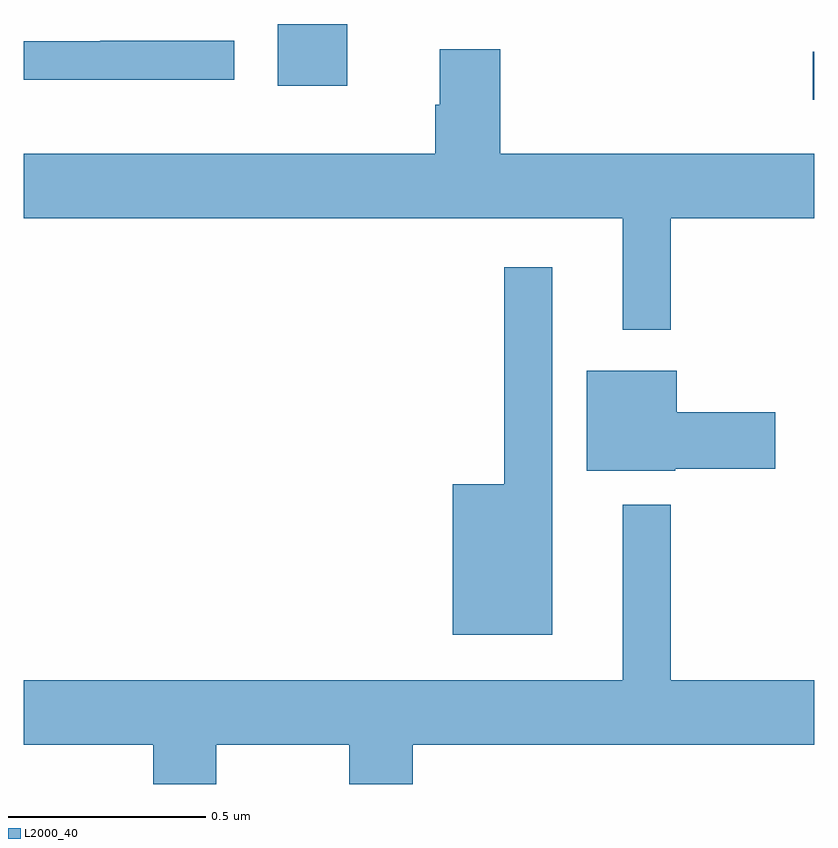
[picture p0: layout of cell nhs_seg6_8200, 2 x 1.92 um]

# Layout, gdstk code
import gdstk
lib = gdstk.Library(unit=1e-6, precision=1e-09)
def R(c, l, rs):  # rectangles x0, y0, x1, y1
    for r in rs: c.add(gdstk.rectangle(r[:2], r[2:], *l))
def P(c, l, *ps):  # polygons
    for p in ps: c.add(gdstk.Polygon(p, *l))
L2000_40 = (2000, 40)

nhs_seg6_8200 = lib.new_cell('nhs_seg6_8200')
R(nhs_seg6_8200, L2000_40, [(219.996,942.308,220,942.43), (218.642,942.344,218.818,942.5)])
P(nhs_seg6_8200, L2000_40, [(218.533,942.457),(218.194,942.457),(218.194,942.456),(218,942.456),(218,942.359),(218.533,942.359)],
  [(219.637,942.008),(220,942.008),(220,942.172),(219.206,942.172),(219.206,942.436),(219.053,942.436),(219.053,942.296),(219.041,942.296),(219.041,942.172),(218,942.172),(218,942.008),(219.515,942.008),(219.515,941.727),(219.637,941.727)],
  [(219.337,941.884),(219.216,941.884),(219.216,941.335),(219.086,941.335),(219.086,940.955),(219.337,940.955)],
  [(219.648,941.375),(219.901,941.375),(219.901,941.517),(219.652,941.517),(219.652,941.623),(219.425,941.623),(219.425,941.369),(219.648,941.369)],
  [(218.487,940.676),(218.824,940.676),(218.824,940.577),(218.984,940.577),(218.984,940.676),(220,940.676),(220,940.84),(219.637,940.84),(219.637,941.284),(219.515,941.284),(219.515,940.84),(218,940.84),(218,940.676),(218.327,940.676),(218.327,940.577),(218.487,940.577)])

lib.write_gds('nhs_seg6_8200.gds')
